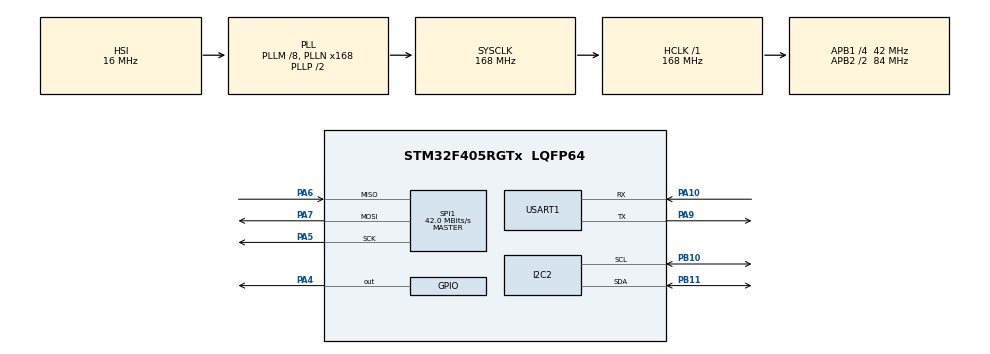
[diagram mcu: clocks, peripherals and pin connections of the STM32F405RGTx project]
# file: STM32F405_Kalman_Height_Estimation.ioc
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Mcu.Family=STM32F4
Mcu.Name=STM32F405RGTx
Mcu.Package=LQFP64
NVIC.PriorityGroup=NVIC_PRIORITYGROUP_4
PA10.Mode=Asynchronous
PA10.Signal=USART1_RX
PA4.Signal=GPIO_Output
PA5.Mode=Full_Duplex_Master
PA5.Signal=SPI1_SCK
PA6.Mode=Full_Duplex_Master
PA6.Signal=SPI1_MISO
PA7.Mode=Full_Duplex_Master
PA7.Signal=SPI1_MOSI
PA9.Mode=Asynchronous
PA9.Signal=USART1_TX
PB10.Mode=I2C
PB10.Signal=I2C2_SCL
PB11.Mode=I2C
PB11.Signal=I2C2_SDA
PH0-OSC_IN.Mode=HSE-External-Oscillator
PH0-OSC_IN.Signal=RCC_OSC_IN
PH1-OSC_OUT.Mode=HSE-External-Oscillator
PH1-OSC_OUT.Signal=RCC_OSC_OUT
ProjectManager.HeapSize=0x200
ProjectManager.StackSize=0x400
ProjectManager.TargetToolchain=STM32CubeIDE
RCC.48MHZClocksFreq_Value=84000000
RCC.AHBFreq_Value=168000000
RCC.APB1CLKDivider=RCC_HCLK_DIV4
RCC.APB1Freq_Value=42000000
RCC.APB1TimFreq_Value=84000000
RCC.APB2CLKDivider=RCC_HCLK_DIV2
RCC.APB2Freq_Value=84000000
RCC.APB2TimFreq_Value=168000000
RCC.CortexFreq_Value=168000000
RCC.HCLKFreq_Value=168000000
RCC.HSE_VALUE=8000000
RCC.HSI_VALUE=16000000
RCC.LSE_VALUE=32768
RCC.PLLM=8
RCC.PLLN=168
RCC.SYSCLKFreq_VALUE=168000000
RCC.SYSCLKSource=RCC_SYSCLKSOURCE_PLLCLK
RCC.VCOOutputFreq_Value=336000000
SPI1.CalculateBaudRate=42.0 MBits/s
SPI1.Direction=SPI_DIRECTION_2LINES
SPI1.Mode=SPI_MODE_MASTER
SPI1.VirtualType=VM_MASTER
USART1.VirtualMode=VM_ASYNC
board=custom

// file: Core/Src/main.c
/* USER CODE BEGIN Header */
/**
  ******************************************************************************
  * @file           : main.c
  * @brief          : Main program body
  ******************************************************************************
  * @attention
  *
  * Copyright (c) 2025 STMicroelectronics.
  * All rights reserved.
  *
  * This software is licensed under terms that can be found in the LICENSE file
  * in the root directory of this software component.
  * If no LICENSE file comes with this software, it is provided AS-IS.
  *
  ******************************************************************************
  */
/* USER CODE END Header */
#include "main.h"
#include "i2c.h"
#include "spi.h"
#include "usart.h"
#include "gpio.h"

/* USER CODE BEGIN Includes */
#include "stdio.h"
#include "string.h"
#include "err_code.h"
#include "bmp280.h"
#include "icm42688.h"
#include "kalman_height_estimation.h"
/* USER CODE END Includes */

/* USER CODE BEGIN PM */
#define CONFIG_BMP280_OPR_MODE              BMP280_OPR_MODE_NORMAL
#define CONFIG_BMP280_FILTER                BMP280_FILTER_OFF
#define CONFIG_BMP280_OVER_SAMPLING_TEMP    BMP280_OVER_SAMPLING_STANDARD
#define CONFIG_BMP280_OVER_SAMPLING_HUMD    BMP280_OVER_SAMPLING_SKIPPED
#define CONFIG_BMP280_OVER_SAMPLING_PRES    BMP280_OVER_SAMPLING_STANDARD
#define CONFIG_BMP280_STANDBY_TIME          BMP280_STANDBY_TIME_0_5MS
#define CONFIG_BMP280_COMM_MODE             BMP280_COMM_MODE_I2C

#define CONFIG_ICM42688_GYRO_MODE           ICM42688_GYRO_MODE_LOW_NOISE
#define CONFIG_ICM42688_GYRO_FS_SEL         ICM42688_GFS_SEL_2000dps
#define CONFIG_ICM42688_GYRO_ODR            ICM42688_GYRO_ODR_1kHz
#define CONFIG_ICM42688_ACCEL_MODE          ICM42688_ACCEL_MODE_LOW_NOISE
#define CONFIG_ICM42688_ACCEL_FS_SEL        ICM42688_ACCEL_FS_SEL_16G
#define CONFIG_ICM42688_ACCEL_ODR           ICM42688_ACCEL_ODR_1kHz
#define CONFIG_ICM42688_COMM_MODE           ICM42688_COMM_MODE_SPI

#define ICM42688_SPI                        hspi1
#define ICM42688_GPIO_PORT_CS               GPIOA
#define ICM42688_GPIO_PIN_CS                GPIO_PIN_4

#define BMP280_I2C                          hi2c2
#define I2C_ADDR_BMP280                     (BMP280_I2C_ADDR_0<<1)

#define UART_DEBUG                          huart1
/* USER CODE END PM */

/* USER CODE BEGIN PV */
bmp280_handle_t bmp280_handle = NULL;
icm42688_handle_t icm42688_handle;
kalman_height_estimation_handle_t kalman_height_estimation_handle = NULL;
uint8_t log_buf[100];
/* USER CODE END PV */

void SystemClock_Config(void);
/* USER CODE BEGIN PFP */
err_code_t hw_intf_icm42688_spi_send(uint8_t *buf_send, uint16_t len);
err_code_t hw_intf_icm42688_spi_recv(uint8_t *buf_recv, uint16_t len);
err_code_t hw_intf_icm42688_set_cs(uint8_t level);
err_code_t hw_intf_bmp280_i2c_send(uint8_t reg_addr, uint8_t *buf, uint16_t len);
err_code_t hw_intf_bmp280_i2c_recv(uint8_t reg_addr, uint8_t *buf, uint16_t len);
err_code_t hw_intf_uart_debug_send(uint8_t *log_buf);
/* USER CODE END PFP */

int main(void)
{

    /* MCU Configuration--------------------------------------------------------*/

    /* Reset of all peripherals, Initializes the Flash interface and the Systick. */
    HAL_Init();

    /* Configure the system clock */
    SystemClock_Config();

    /* Initialize all configured peripherals */
    MX_GPIO_Init();
    MX_I2C2_Init();
    MX_SPI1_Init();
    MX_USART1_UART_Init();
    /* USER CODE BEGIN 2 */
    icm42688_handle = icm42688_init();
    icm42688_cfg_t icm42688_cfg = {
        .gyro_mode      = CONFIG_ICM42688_GYRO_MODE,
        .gyro_fs_sel    = CONFIG_ICM42688_GYRO_FS_SEL,
        .gyro_odr       = CONFIG_ICM42688_GYRO_ODR,
        .accel_mode     = CONFIG_ICM42688_ACCEL_MODE,
        .accel_fs_sel   = CONFIG_ICM42688_ACCEL_FS_SEL,
        .accel_odr      = CONFIG_ICM42688_ACCEL_ODR,
        .accel_bias_x   = 19,
        .accel_bias_y   = 21,
        .accel_bias_z   = 26,
        .gyro_bias_x    = 12,
        .gyro_bias_y    = 0,
        .gyro_bias_z    = 17,
        .comm_mode      = CONFIG_ICM42688_COMM_MODE,
        .spi_send       = hw_intf_icm42688_spi_send,
        .spi_recv       = hw_intf_icm42688_spi_recv,
        .set_cs         = hw_intf_icm42688_set_cs,
        .delay          = HAL_Delay
    };
    icm42688_set_config(icm42688_handle, icm42688_cfg);
    icm42688_config(icm42688_handle);

    bmp280_cfg_t bmp280_cfg = {
        .opr_mode                   = CONFIG_BMP280_OPR_MODE,
        .filter                     = CONFIG_BMP280_FILTER,
        .over_sampling_pressure     = CONFIG_BMP280_OVER_SAMPLING_PRES,
        .over_sampling_temperature  = CONFIG_BMP280_OVER_SAMPLING_TEMP,
        .over_sampling_humidity     = CONFIG_BMP280_OVER_SAMPLING_HUMD,
        .standby_time               = CONFIG_BMP280_STANDBY_TIME,
        .comm_mode                  = CONFIG_BMP280_COMM_MODE,
        .i2c_send                   = hw_intf_bmp280_i2c_send,
        .i2c_recv                   = hw_intf_bmp280_i2c_recv,
        .delay                      = HAL_Delay,
    };
    bmp280_handle = bmp280_init();
    bmp280_set_config(bmp280_handle, bmp280_cfg);
    bmp280_config(bmp280_handle);

    kalman_height_estimation_handle = kalman_height_estimation_init();
    kalman_height_estimation_cfg_t kalman_height_estimation_cfg = {
        .dt = 0.04f,
    };
    kalman_height_estimation_set_config(kalman_height_estimation_handle, kalman_height_estimation_cfg);
    kalman_height_estimation_config(kalman_height_estimation_handle);
    /* USER CODE END 2 */

    /* Infinite loop */
    /* USER CODE BEGIN WHILE */
    while (1)
    {
        float pressure = 0.0;
        float altitude = 0.0, altitude_kalman = 0.0;
        float accel_x, accel_y, accel_z;

        bmp280_get_pressure(bmp280_handle, &pressure);
        bmp280_convert_pressure_to_altitude(bmp280_handle, pressure, &altitude);

        icm42688_get_accel_scale(icm42688_handle, &accel_x, &accel_y, &accel_z);

        kalman_height_estimation_update(kalman_height_estimation_handle, accel_z - 9.81f, altitude);
        kalman_height_estimation_get_height(kalman_height_estimation_handle, &altitude_kalman);

        sprintf((char *)log_buf, "%f,%f\n", pressure, altitude_kalman);
        hw_intf_uart_debug_send(log_buf);

        HAL_Delay(40);
        /* USER CODE END WHILE */

    }
}

void SystemClock_Config(void)
{
    RCC_OscInitTypeDef RCC_OscInitStruct = {0};
    RCC_ClkInitTypeDef RCC_ClkInitStruct = {0};

    /** Configure the main internal regulator output voltage
    */
    __HAL_RCC_PWR_CLK_ENABLE();
    __HAL_PWR_VOLTAGESCALING_CONFIG(PWR_REGULATOR_VOLTAGE_SCALE1);

    /** Initializes the RCC Oscillators according to the specified parameters
    * in the RCC_OscInitTypeDef structure.
    */
    RCC_OscInitStruct.OscillatorType = RCC_OSCILLATORTYPE_HSI;
    RCC_OscInitStruct.HSIState = RCC_HSI_ON;
    RCC_OscInitStruct.HSICalibrationValue = RCC_HSICALIBRATION_DEFAULT;
    RCC_OscInitStruct.PLL.PLLState = RCC_PLL_ON;
    RCC_OscInitStruct.PLL.PLLSource = RCC_PLLSOURCE_HSI;
    RCC_OscInitStruct.PLL.PLLM = 8;
    RCC_OscInitStruct.PLL.PLLN = 168;
    RCC_OscInitStruct.PLL.PLLP = RCC_PLLP_DIV2;
    RCC_OscInitStruct.PLL.PLLQ = 4;
    if (HAL_RCC_OscConfig(&RCC_OscInitStruct) != HAL_OK)
    {
        Error_Handler();
    }

    /** Initializes the CPU, AHB and APB buses clocks
    */
    RCC_ClkInitStruct.ClockType = RCC_CLOCKTYPE_HCLK | RCC_CLOCKTYPE_SYSCLK
                                  | RCC_CLOCKTYPE_PCLK1 | RCC_CLOCKTYPE_PCLK2;
    RCC_ClkInitStruct.SYSCLKSource = RCC_SYSCLKSOURCE_PLLCLK;
    RCC_ClkInitStruct.AHBCLKDivider = RCC_SYSCLK_DIV1;
    RCC_ClkInitStruct.APB1CLKDivider = RCC_HCLK_DIV4;
    RCC_ClkInitStruct.APB2CLKDivider = RCC_HCLK_DIV2;

    if (HAL_RCC_ClockConfig(&RCC_ClkInitStruct, FLASH_LATENCY_5) != HAL_OK)
    {
        Error_Handler();
    }
}

/* USER CODE BEGIN 4 */
err_code_t hw_intf_icm42688_spi_send(uint8_t *buf_send, uint16_t len)
{
    HAL_SPI_Transmit(&ICM42688_SPI, buf_send, len, 100);

    return ERR_CODE_SUCCESS;
}

err_code_t hw_intf_icm42688_spi_recv(uint8_t *buf_recv, uint16_t len)
{
    HAL_SPI_Receive(&ICM42688_SPI, buf_recv, len, 100);

    return ERR_CODE_SUCCESS;
}

err_code_t hw_intf_icm42688_set_cs(uint8_t level)
{
    HAL_GPIO_WritePin(ICM42688_GPIO_PORT_CS, ICM42688_GPIO_PIN_CS, level);

    return ERR_CODE_SUCCESS;
}

err_code_t hw_intf_bmp280_i2c_send(uint8_t reg_addr, uint8_t *buf, uint16_t len)
{
    uint8_t buf_send[len + 1];
    buf_send[0] = reg_addr;
    for (uint8_t i = 0; i < len; i++)
    {
        buf_send[i + 1] = buf[i];
    }

    HAL_I2C_Master_Transmit(&BMP280_I2C, I2C_ADDR_BMP280, buf_send, len + 1, 100);

    return ERR_CODE_SUCCESS;
}

err_code_t hw_intf_bmp280_i2c_recv(uint8_t reg_addr, uint8_t *buf, uint16_t len)
{
    uint8_t buffer[1];
    buffer[0] = reg_addr;

    HAL_I2C_Master_Transmit(&BMP280_I2C, I2C_ADDR_BMP280, buffer, 1, 100);
    HAL_I2C_Master_Receive(&BMP280_I2C, I2C_ADDR_BMP280, buf, len, 100);

    return ERR_CODE_SUCCESS;
}

err_code_t hw_intf_uart_debug_send(uint8_t *log_buf)
{
    uint16_t len = strlen((char*)log_buf);
    HAL_UART_Transmit(&UART_DEBUG, (uint8_t*)log_buf, len, 100);

    return ERR_CODE_SUCCESS;
}
/* USER CODE END 4 */

void Error_Handler(void)
{
    __disable_irq();
    while (1)
    {
    }
}
